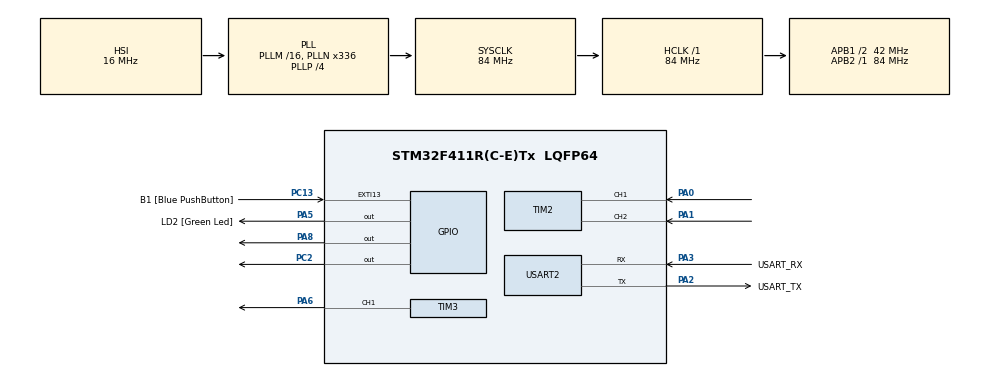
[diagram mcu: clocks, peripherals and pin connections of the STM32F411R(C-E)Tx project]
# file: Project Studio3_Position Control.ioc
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Mcu.Family=STM32F4
Mcu.Name=STM32F411R(C-E)Tx
Mcu.Package=LQFP64
NVIC.PriorityGroup=NVIC_PRIORITYGROUP_0
NVIC.TIM2_IRQn=true\:0\:0\:false\:false\:true\:true\:true\:true
NVIC.TIM3_IRQn=true\:0\:0\:false\:false\:true\:true\:true\:true
PA0-WKUP.Signal=S_TIM2_CH1_ETR
PA1.Signal=S_TIM2_CH2
PA13.GPIO_Label=TMS
PA13.Mode=Serial_Wire
PA13.Signal=SYS_JTMS-SWDIO
PA14.GPIO_Label=TCK
PA14.Mode=Serial_Wire
PA14.Signal=SYS_JTCK-SWCLK
PA2.GPIO_Label=USART_TX
PA2.Mode=Asynchronous
PA2.Signal=USART2_TX
PA3.GPIO_Label=USART_RX
PA3.Mode=Asynchronous
PA3.Signal=USART2_RX
PA5.GPIO_Label=LD2 [Green Led]
PA5.Signal=GPIO_Output
PA6.Signal=S_TIM3_CH1
PA8.PinState=GPIO_PIN_SET
PA8.Signal=GPIO_Output
PB3.GPIO_Label=SWO
PB3.Signal=SYS_JTDO-SWO
PC13-ANTI_TAMP.GPIO_Label=B1 [Blue PushButton]
PC13-ANTI_TAMP.GPIO_ModeDefaultEXTI=GPIO_MODE_IT_FALLING
PC13-ANTI_TAMP.Signal=GPXTI13
PC14-OSC32_IN.Mode=LSE-External-Oscillator
PC14-OSC32_IN.Signal=RCC_OSC32_IN
PC15-OSC32_OUT.Mode=LSE-External-Oscillator
PC15-OSC32_OUT.Signal=RCC_OSC32_OUT
PC2.PinState=GPIO_PIN_SET
PC2.Signal=GPIO_Output
PH0\ -\ OSC_IN.Mode=HSE-External-Clock-Source
PH0\ -\ OSC_IN.Signal=RCC_OSC_IN
PH1\ -\ OSC_OUT.Mode=HSE-External-Clock-Source
PH1\ -\ OSC_OUT.Signal=RCC_OSC_OUT
ProjectManager.HeapSize=0x200
ProjectManager.StackSize=0x400
ProjectManager.TargetToolchain=STM32CubeIDE
RCC.48MHZClocksFreq_Value=84000000
RCC.AHBFreq_Value=84000000
RCC.APB1CLKDivider=RCC_HCLK_DIV2
RCC.APB1Freq_Value=42000000
RCC.APB1TimFreq_Value=84000000
RCC.APB2Freq_Value=84000000
RCC.APB2TimFreq_Value=84000000
RCC.CortexFreq_Value=84000000
RCC.FLatency-AdvancedSettings=FLASH_LATENCY_2
RCC.HCLKFreq_Value=84000000
RCC.HSE_VALUE=8000000
RCC.HSI_VALUE=16000000
RCC.PLLN=336
RCC.PLLP=RCC_PLLP_DIV4
RCC.SYSCLKFreq_VALUE=84000000
RCC.SYSCLKSource=RCC_SYSCLKSOURCE_PLLCLK
RCC.VCOOutputFreq_Value=336000000
SH.S_TIM2_CH1_ETR.0=TIM2_CH1,Encoder_Interface
SH.S_TIM2_CH2.0=TIM2_CH2,Encoder_Interface
SH.S_TIM3_CH1.0=TIM3_CH1,PWM Generation1 CH1
TIM2.EncoderMode=TIM_ENCODERMODE_TI12
TIM3.Channel-PWM\ Generation1\ CH1=TIM_CHANNEL_1
TIM3.Period=9999
TIM3.Prescaler=83
USART2.VirtualMode=VM_ASYNC
board=NUCLEO-F411RE

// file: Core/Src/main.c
/* USER CODE BEGIN Header */
/**
  ******************************************************************************
  * @file           : main.c
  * @brief          : Main program body
  ******************************************************************************
  * @attention
  *
  * Copyright (c) 2023 STMicroelectronics.
  * All rights reserved.
  *
  * This software is licensed under terms that can be found in the LICENSE file
  * in the root directory of this software component.
  * If no LICENSE file comes with this software, it is provided AS-IS.
  *
  ******************************************************************************
  */
/* USER CODE END Header */
#include "main.h"

TIM_HandleTypeDef htim2;
TIM_HandleTypeDef htim3;

UART_HandleTypeDef huart2;

/* USER CODE BEGIN PV */
struct Evaluation
{
	float Position;
	float Velocity;
}Setpoint,Measure;

float e;
float e_Integral;
int32_t e_Derivative;

uint16_t Kp = 300;
uint16_t Ki = 10;
uint16_t Kd = 0;

int16_t duty_raw = 0;
uint16_t duty = 0;
float dt = 0.01;

uint32_t T_prev = 0;
uint32_t T = 0;
float dT = 0;
float P_prev = 0;
uint32_t timestamp = 0;

int32_t QEIReadRaw;

uint16_t test =0;

/* USER CODE END PV */

void SystemClock_Config(void);
static void MX_GPIO_Init(void);
static void MX_USART2_UART_Init(void);
static void MX_TIM3_Init(void);
static void MX_TIM2_Init(void);
/* USER CODE BEGIN PFP */
void Position_Control();
/* USER CODE END PFP */

int main(void)
{

  /* MCU Configuration--------------------------------------------------------*/

  /* Reset of all peripherals, Initializes the Flash interface and the Systick. */
  HAL_Init();

  /* Configure the system clock */
  SystemClock_Config();

  /* Initialize all configured peripherals */
  MX_GPIO_Init();
  MX_USART2_UART_Init();
  MX_TIM3_Init();
  MX_TIM2_Init();
  /* USER CODE BEGIN 2 */
  HAL_TIM_Base_Start_IT(&htim3);
  HAL_TIM_PWM_Start(&htim3, TIM_CHANNEL_1);

  HAL_TIM_Encoder_Start(&htim2, TIM_CHANNEL_1|TIM_CHANNEL_2);
  /* USER CODE END 2 */

  /* Infinite loop */
  while (1)
  {

    /* USER CODE BEGIN 3 */
	  if(HAL_GetTick() > timestamp)
	  {
		  timestamp += 10;
		  QEIReadRaw = __HAL_TIM_GET_COUNTER(&htim2);
		  T = HAL_GetTick();
		  dT = (T - T_prev)/1000.0;
		  Measure.Position = (QEIReadRaw*6.11*2*3.14)/12000.0;
		  Measure.Velocity = (Measure.Position - P_prev)/dT;
		  P_prev = Measure.Position;
		  T_prev = T;
	  }

  }
  /* USER CODE END 3 */
}

void SystemClock_Config(void)
{
  RCC_OscInitTypeDef RCC_OscInitStruct = {0};
  RCC_ClkInitTypeDef RCC_ClkInitStruct = {0};

  /** Configure the main internal regulator output voltage
  */
  __HAL_RCC_PWR_CLK_ENABLE();
  __HAL_PWR_VOLTAGESCALING_CONFIG(PWR_REGULATOR_VOLTAGE_SCALE1);

  /** Initializes the RCC Oscillators according to the specified parameters
  * in the RCC_OscInitTypeDef structure.
  */
  RCC_OscInitStruct.OscillatorType = RCC_OSCILLATORTYPE_HSI;
  RCC_OscInitStruct.HSIState = RCC_HSI_ON;
  RCC_OscInitStruct.HSICalibrationValue = RCC_HSICALIBRATION_DEFAULT;
  RCC_OscInitStruct.PLL.PLLState = RCC_PLL_ON;
  RCC_OscInitStruct.PLL.PLLSource = RCC_PLLSOURCE_HSI;
  RCC_OscInitStruct.PLL.PLLM = 16;
  RCC_OscInitStruct.PLL.PLLN = 336;
  RCC_OscInitStruct.PLL.PLLP = RCC_PLLP_DIV4;
  RCC_OscInitStruct.PLL.PLLQ = 4;
  if (HAL_RCC_OscConfig(&RCC_OscInitStruct) != HAL_OK)
  {
    Error_Handler();
  }

  /** Initializes the CPU, AHB and APB buses clocks
  */
  RCC_ClkInitStruct.ClockType = RCC_CLOCKTYPE_HCLK|RCC_CLOCKTYPE_SYSCLK
                              |RCC_CLOCKTYPE_PCLK1|RCC_CLOCKTYPE_PCLK2;
  RCC_ClkInitStruct.SYSCLKSource = RCC_SYSCLKSOURCE_PLLCLK;
  RCC_ClkInitStruct.AHBCLKDivider = RCC_SYSCLK_DIV1;
  RCC_ClkInitStruct.APB1CLKDivider = RCC_HCLK_DIV2;
  RCC_ClkInitStruct.APB2CLKDivider = RCC_HCLK_DIV1;

  if (HAL_RCC_ClockConfig(&RCC_ClkInitStruct, FLASH_LATENCY_2) != HAL_OK)
  {
    Error_Handler();
  }
}

static void MX_TIM2_Init(void)
{

  TIM_Encoder_InitTypeDef sConfig = {0};
  TIM_MasterConfigTypeDef sMasterConfig = {0};

  htim2.Instance = TIM2;
  htim2.Init.Prescaler = 0;
  htim2.Init.CounterMode = TIM_COUNTERMODE_UP;
  htim2.Init.Period = 4294967295;
  htim2.Init.ClockDivision = TIM_CLOCKDIVISION_DIV1;
  htim2.Init.AutoReloadPreload = TIM_AUTORELOAD_PRELOAD_DISABLE;
  sConfig.EncoderMode = TIM_ENCODERMODE_TI12;
  sConfig.IC1Polarity = TIM_ICPOLARITY_RISING;
  sConfig.IC1Selection = TIM_ICSELECTION_DIRECTTI;
  sConfig.IC1Prescaler = TIM_ICPSC_DIV1;
  sConfig.IC1Filter = 0;
  sConfig.IC2Polarity = TIM_ICPOLARITY_RISING;
  sConfig.IC2Selection = TIM_ICSELECTION_DIRECTTI;
  sConfig.IC2Prescaler = TIM_ICPSC_DIV1;
  sConfig.IC2Filter = 0;
  if (HAL_TIM_Encoder_Init(&htim2, &sConfig) != HAL_OK)
  {
    Error_Handler();
  }
  sMasterConfig.MasterOutputTrigger = TIM_TRGO_RESET;
  sMasterConfig.MasterSlaveMode = TIM_MASTERSLAVEMODE_DISABLE;
  if (HAL_TIMEx_MasterConfigSynchronization(&htim2, &sMasterConfig) != HAL_OK)
  {
    Error_Handler();
  }

}

static void MX_TIM3_Init(void)
{

  TIM_MasterConfigTypeDef sMasterConfig = {0};
  TIM_OC_InitTypeDef sConfigOC = {0};

  htim3.Instance = TIM3;
  htim3.Init.Prescaler = 83;
  htim3.Init.CounterMode = TIM_COUNTERMODE_UP;
  htim3.Init.Period = 9999;
  htim3.Init.ClockDivision = TIM_CLOCKDIVISION_DIV1;
  htim3.Init.AutoReloadPreload = TIM_AUTORELOAD_PRELOAD_DISABLE;
  if (HAL_TIM_PWM_Init(&htim3) != HAL_OK)
  {
    Error_Handler();
  }
  sMasterConfig.MasterOutputTrigger = TIM_TRGO_RESET;
  sMasterConfig.MasterSlaveMode = TIM_MASTERSLAVEMODE_DISABLE;
  if (HAL_TIMEx_MasterConfigSynchronization(&htim3, &sMasterConfig) != HAL_OK)
  {
    Error_Handler();
  }
  sConfigOC.OCMode = TIM_OCMODE_PWM1;
  sConfigOC.Pulse = 0;
  sConfigOC.OCPolarity = TIM_OCPOLARITY_HIGH;
  sConfigOC.OCFastMode = TIM_OCFAST_DISABLE;
  if (HAL_TIM_PWM_ConfigChannel(&htim3, &sConfigOC, TIM_CHANNEL_1) != HAL_OK)
  {
    Error_Handler();
  }
  HAL_TIM_MspPostInit(&htim3);

}

static void MX_USART2_UART_Init(void)
{

  huart2.Instance = USART2;
  huart2.Init.BaudRate = 115200;
  huart2.Init.WordLength = UART_WORDLENGTH_8B;
  huart2.Init.StopBits = UART_STOPBITS_1;
  huart2.Init.Parity = UART_PARITY_NONE;
  huart2.Init.Mode = UART_MODE_TX_RX;
  huart2.Init.HwFlowCtl = UART_HWCONTROL_NONE;
  huart2.Init.OverSampling = UART_OVERSAMPLING_16;
  if (HAL_UART_Init(&huart2) != HAL_OK)
  {
    Error_Handler();
  }

}

static void MX_GPIO_Init(void)
{
  GPIO_InitTypeDef GPIO_InitStruct = {0};

  /* GPIO Ports Clock Enable */
  __HAL_RCC_GPIOC_CLK_ENABLE();
  __HAL_RCC_GPIOH_CLK_ENABLE();
  __HAL_RCC_GPIOA_CLK_ENABLE();
  __HAL_RCC_GPIOB_CLK_ENABLE();

  /*Configure GPIO pin Output Level */
  HAL_GPIO_WritePin(GPIOC, GPIO_PIN_2, GPIO_PIN_SET);

  /*Configure GPIO pin Output Level */
  HAL_GPIO_WritePin(LD2_GPIO_Port, LD2_Pin, GPIO_PIN_RESET);

  /*Configure GPIO pin Output Level */
  HAL_GPIO_WritePin(GPIOA, GPIO_PIN_8, GPIO_PIN_SET);

  /*Configure GPIO pin : B1_Pin */
  GPIO_InitStruct.Pin = B1_Pin;
  GPIO_InitStruct.Mode = GPIO_MODE_IT_FALLING;
  GPIO_InitStruct.Pull = GPIO_NOPULL;
  HAL_GPIO_Init(B1_GPIO_Port, &GPIO_InitStruct);

  /*Configure GPIO pin : PC2 */
  GPIO_InitStruct.Pin = GPIO_PIN_2;
  GPIO_InitStruct.Mode = GPIO_MODE_OUTPUT_PP;
  GPIO_InitStruct.Pull = GPIO_NOPULL;
  GPIO_InitStruct.Speed = GPIO_SPEED_FREQ_LOW;
  HAL_GPIO_Init(GPIOC, &GPIO_InitStruct);

  /*Configure GPIO pins : LD2_Pin PA8 */
  GPIO_InitStruct.Pin = LD2_Pin|GPIO_PIN_8;
  GPIO_InitStruct.Mode = GPIO_MODE_OUTPUT_PP;
  GPIO_InitStruct.Pull = GPIO_NOPULL;
  GPIO_InitStruct.Speed = GPIO_SPEED_FREQ_LOW;
  HAL_GPIO_Init(GPIOA, &GPIO_InitStruct);

}

/* USER CODE BEGIN 4 */
void HAL_TIM_PeriodElapsedCallback(TIM_HandleTypeDef *htim)
{
	if(htim == &htim3)
	{
		Position_Control();

		if(e >= 0)
		{
			duty = duty_raw;
			__HAL_TIM_SET_COMPARE(&htim3, TIM_CHANNEL_1, duty);
			HAL_GPIO_WritePin(GPIOC, GPIO_PIN_2, RESET);
		}
		else
		{
			duty = duty_raw*-1;
			__HAL_TIM_SET_COMPARE(&htim3, TIM_CHANNEL_1, duty);
			HAL_GPIO_WritePin(GPIOC, GPIO_PIN_2, SET);
		}

		HAL_GPIO_TogglePin(GPIOB, GPIO_PIN_5);
	}
}

void Position_Control()
{
	e = Setpoint.Position - Measure.Position;

	if((duty_raw >= 10000 && e >= 0) || (duty_raw <= -10000 && e < 0))
	{
		test++;
		e_Integral = 0;
	}
	else e_Integral += e*dt;

	e_Derivative = Setpoint.Velocity - Measure.Velocity;

	duty_raw = Kp*e + Ki*e_Integral + Kd*e_Derivative;

}

/* USER CODE END 4 */

void Error_Handler(void)
{
  __disable_irq();
  while (1)
  {
  }
}
